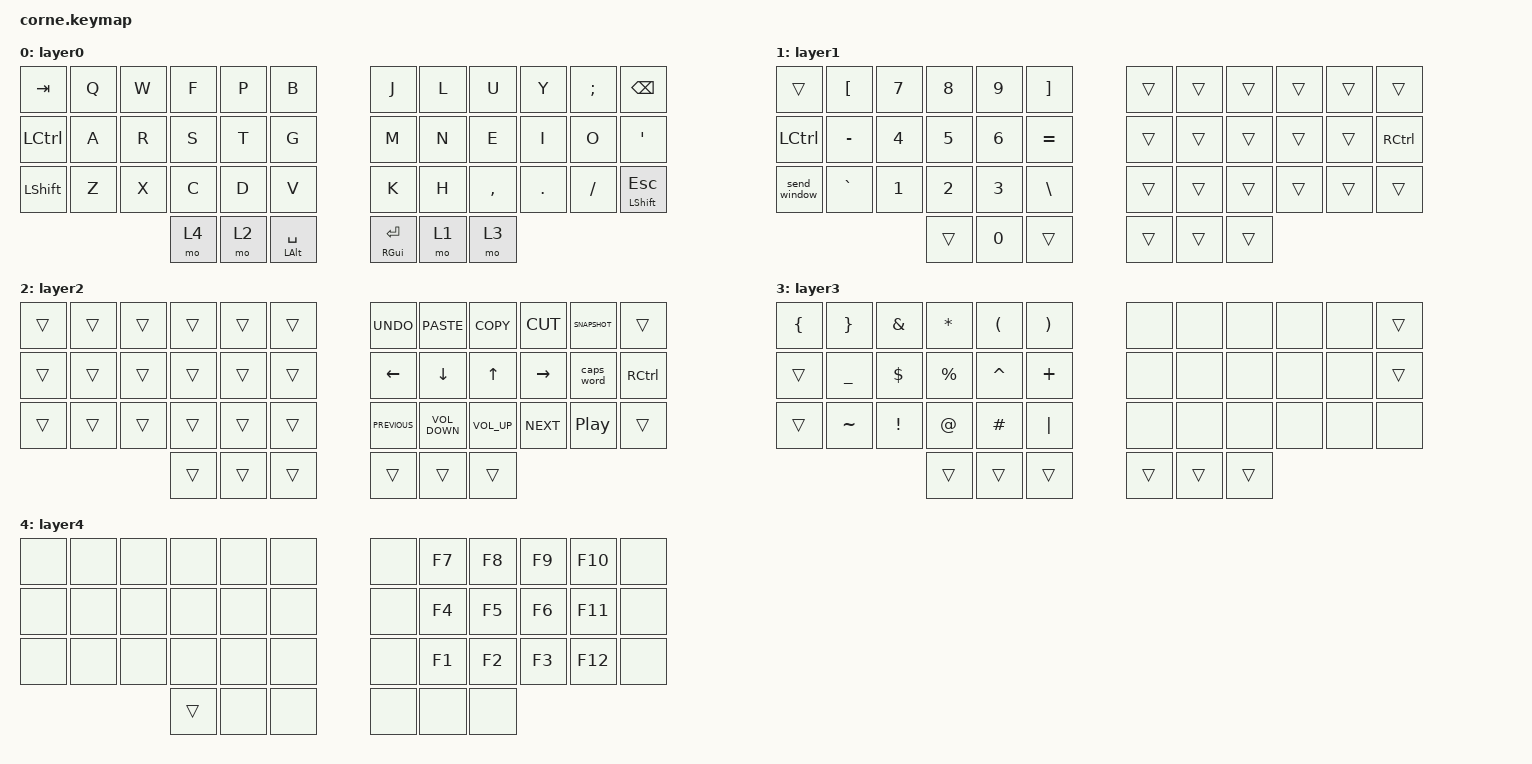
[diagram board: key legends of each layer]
  /*
  * Copyright (c) 2020 The ZMK Contributors
  *
  * SPDX-License-Identifier: MIT
  */

  #include <behaviors.dtsi>
  #include <dt-bindings/zmk/keys.h>
  #include <dt-bindings/zmk/bt.h>
  #include <dt-bindings/zmk/ext_power.h>

  / {
    macros {
      send_window: send_window {
        compatible = "zmk,behavior-macro";
        #binding-cells = <0>;
        bindings
              = <&macro_press &kp LEFT_ALT &kp LEFT_SHIFT>, <&macro_pause_for_release>, <&macro_release &kp LEFT_ALT &kp LEFT_SHIFT>;
      };
    };
    keymap {
      compatible = "zmk,keymap";
  layer0 {
          bindings = <
          &kp TAB &kp Q &kp W &kp F &kp P &kp B &kp J &kp L &kp U &kp Y &kp SEMICOLON &kp BACKSPACE 
          &kp LEFT_CONTROL &kp A &kp R &kp S &kp T &kp G &kp M &kp N &kp E &kp I &kp O &kp SINGLE_QUOTE
          &kp LEFT_SHIFT &kp Z &kp X &kp C &kp D &kp V &kp K &kp H &kp COMMA &kp DOT &kp SLASH &mt LEFT_SHIFT ESCAPE 
          &mo 4 &mo 2 &mt LEFT_ALT SPACE &mt RGUI ENTER &mo 1 &mo 3
          >;
        };

        layer1 {
          bindings = <
          &trans &kp LEFT_BRACKET &kp N7 &kp N8 &kp N9 &kp RIGHT_BRACKET &trans &trans &trans &trans &trans &trans
          &kp LEFT_CONTROL &kp MINUS &kp N4 &kp N5 &kp N6 &kp EQUAL &trans &trans &trans &trans &trans &kp RIGHT_CONTROL
          &send_window &kp GRAVE &kp N1 &kp N2 &kp N3 &kp BACKSLASH &trans &trans &trans &trans &trans &trans 
          &trans &kp N0 &trans &trans &trans &trans
          >;
        };

        layer2 {
          bindings = <
          &trans &trans &trans &trans &trans &trans &kp K_UNDO &kp K_PASTE &kp K_COPY &kp K_CUT &kp C_SNAPSHOT &trans
          &trans &trans &trans &trans &trans &trans &kp LEFT &kp DOWN &kp UP &kp RIGHT &caps_word &kp RIGHT_CONTROL
          &trans &trans &trans &trans &trans &trans &kp C_PREVIOUS &kp C_VOLUME_DOWN &kp C_VOLUME_UP &kp C_NEXT &kp C_PLAY_PAUSE &trans 
          &trans &trans &trans &trans &trans &trans
          >;
        };

        layer3 {
          bindings = <
          &kp LEFT_BRACE &kp RIGHT_BRACE &kp AMPERSAND &kp ASTERISK &kp LEFT_PARENTHESIS &kp RIGHT_PARENTHESIS &none &none &none &none &none &trans 
          &trans &kp UNDERSCORE &kp DOLLAR &kp PERCENT &kp CARET &kp PLUS &none &none &none &none &none &trans 
          &trans &kp TILDE &kp EXCLAMATION &kp AT_SIGN &kp HASH &kp PIPE &none &none &none &none &none &none 
          &trans &trans &trans &trans &trans &trans 
          >;
        };

        layer4 {
          bindings = <
          &none &none &none &none &none &none &none &kp F7 &kp F8 &kp F9 &kp F10 
          &none &none &none &none &none &none &none &none &kp F4 &kp F5 &kp F6 &kp F11 
          &none &none &none &none &none &none &none &none &kp F1 &kp F2 &kp F3 &kp F12 
          &none &trans &none &none &none &none &none
          >;
        };
    };
  };
  
